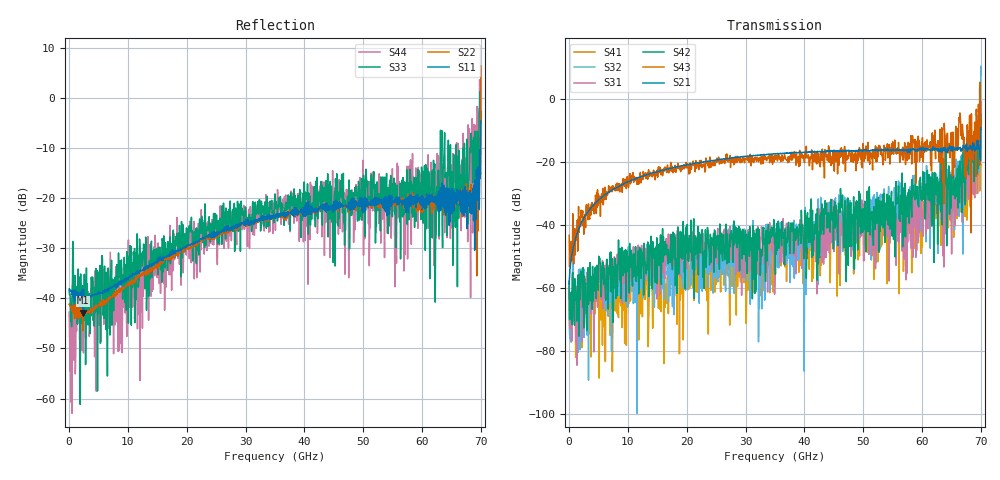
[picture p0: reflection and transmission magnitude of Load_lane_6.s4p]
!Pstart = -2.000000E+001
!Pstop = -1.000000E+001
!Pstep = 2.564103E-001
! 4/30/2026 12:59:03 PM
! C:\ANRITSUVNA\TEMP\TEMP.S4P
! CHANNEL.1
! TR.MEASUREMENT
! CORRECTED.DATA
! RF.CORRECTION: FULL.FOUR.PORT.CAL.PORT.1.2.3.4
! AVERAGING.OFF
! IF.BANDWIDTH: 100HZ
! SWEEPTYPE:  FREQ.SWEEP(Linear)
! Reference Plane Port Info
! DISTANCE:  0  m  0  m  0  m  0  m
! TIME:  0  s  0  s  0  s  0  s
! PHASE.OFFSET:  0 °  0 °  0 °  0 °
! LOSS:  0  dB  0  dB  0  dB  0  dB
! REF.LOSS:  0  dB  0  dB  0  dB  0  dB
! REF.FREQ:  0  Hz  0  Hz  0  Hz  0  Hz
! Power Info
! POWER:  -20  dBm  -20  dBm  -20  dBm  -20  dBm
! EFF.POWER:  -20  dBm  -20  dBm  -40  dBm  -40  dBm
! SOURCE.ATTEN:  0  dB  0  dB  20  dB  20  dB
! TEST.ATTEN:  0  dB  0  dB  20  dB  20  dB
! Created with skrf 1.9.0 (http://scikit-rf.org).
# Hz S RI R 50.0
!freq ReS11 ImS11 ReS12 ImS12 ReS13 ImS13
! ReS14 ImS14
! ReS21 ImS21 ReS22 ImS22 ReS23 ImS23
! ReS24 ImS24
! ReS31 ImS31 ReS32 ImS32 ReS33 ImS33
! ReS34 ImS34
! ReS41 ImS41 ReS42 ImS42 ReS43 ImS43
! ReS44 ImS44
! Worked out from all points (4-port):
!   1001 points, 10 MHz to 70 GHz, reference 50 ohm
!   strongest paths, dB at 10 MHz, 17.51 GHz, 35.01 GHz, 52.5 GHz, 70 GHz:
!     S21: -58.7, -21.9, -17.4, -16.3, -9.1
!     S43: -43.3, -21.3, -19.1, -18.3, -9.2
!     S42: -57.8, -52.0, -45.1, -36.6, -5.1
!     S31: -59.6, -49.2, -56.9, -47.1, -0.7
!     S32: -58.7, -51.2, -51.7, -37.5, 10.5
!     S41: -58.1, -56.1, -53.0, -51.7, -7.7
!   lowest |S11| = -42.9 dB at 2.39 GHz (marker M1), VSWR 1.01, Z = 49.3 + j0.283 ohm
!   |S11| at or under -10 dB: start of sweep to 69.93 GHz
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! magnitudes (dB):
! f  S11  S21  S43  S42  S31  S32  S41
! 10 MHz  -38.2  -58.7  -43.3  -57.8  -59.6  -58.7  -58.1
! 2.39 GHz  -42.9  -38.3  -40.3  -53.5  -72.9  -60.2  -64.2
! 20.73 GHz  -29.4  -20.6  -20.9  -38.5  -51.5  -59.1  -55.9
! 55.23 GHz  -20.5  -16.4  -16.9  -35.9  -34.2  -38.3  -37.5
! 67.2 GHz  -20.7  -15.3  -16.2  -20.9  -22.1  -23.2  -23.1
! 69.44 GHz  -13.9  -14.5  -11.5  -13.3  -30.0  -23.1  -20.3
! 70 GHz  -4.7  -9.1  -9.2  -5.1  -0.7  10.5  -7.7
